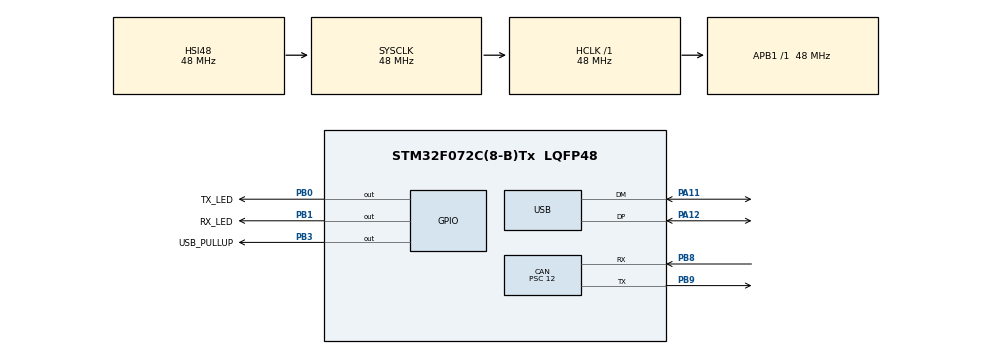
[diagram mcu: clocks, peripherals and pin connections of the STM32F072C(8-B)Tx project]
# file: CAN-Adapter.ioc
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CAN.BS1=CAN_BS1_13TQ
CAN.BS2=CAN_BS2_2TQ
CAN.CalculateBaudRate=250000
CAN.CalculateTimeBit=4000
CAN.CalculateTimeQuantum=250.0
CAN.Mode=CAN_MODE_NORMAL
CAN.Prescaler=12
IWDG.Prescaler=IWDG_PRESCALER_4
Mcu.Family=STM32F0
Mcu.Name=STM32F072C(8-B)Tx
Mcu.Package=LQFP48
NVIC.CEC_CAN_IRQn=true\:0\:0\:false\:false\:true\:true\:true
NVIC.USB_IRQn=true\:0\:0\:false\:false\:true\:false\:true
PA11.Mode=Device
PA11.Signal=USB_DM
PA12.Mode=Device
PA12.Signal=USB_DP
PA13.Mode=Serial_Wire
PA13.Signal=SYS_SWDIO
PA14.Mode=Serial_Wire
PA14.Signal=SYS_SWCLK
PB0.GPIO_Label=TX_LED
PB0.Signal=GPIO_Output
PB1.GPIO_Label=RX_LED
PB1.Signal=GPIO_Output
PB3.GPIO_Label=USB_PULLUP
PB3.PinState=GPIO_PIN_SET
PB3.Signal=GPIO_Output
PB8.Mode=CAN_Activate
PB8.Signal=CAN_RX
PB9.Mode=CAN_Activate
PB9.Signal=CAN_TX
PF0-OSC_IN.Mode=HSE-External-Oscillator
PF0-OSC_IN.Signal=RCC_OSC_IN
PF1-OSC_OUT.Mode=HSE-External-Oscillator
PF1-OSC_OUT.Signal=RCC_OSC_OUT
ProjectManager.HeapSize=0x200
ProjectManager.StackSize=0x400
ProjectManager.TargetToolchain=STM32CubeIDE
RCC.AHBFreq_Value=48000000
RCC.APB1Freq_Value=48000000
RCC.APB1TimFreq_Value=48000000
RCC.HCLKFreq_Value=48000000
RCC.HSE_VALUE=16000000
RCC.PLLSourceVirtual=RCC_PLLSOURCE_HSE
RCC.SYSCLKFreq_VALUE=48000000
RCC.SYSCLKSource=RCC_SYSCLKSOURCE_HSI48
USB_DEVICE.CLASS_NAME_FS=CDC
USB_DEVICE.VirtualMode=Cdc
USB_DEVICE.VirtualModeFS=Cdc_FS
VP_IWDG_VS_IWDG.Mode=IWDG_Activate
VP_USB_DEVICE_VS_USB_DEVICE_CDC_FS.Mode=CDC_FS
board=custom

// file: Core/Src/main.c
/* USER CODE BEGIN Header */
/**
 ******************************************************************************
 * @file           : main.c
 * @brief          : Main program body
 ******************************************************************************
 * @attention
 *
 * Copyright (c) 2022 STMicroelectronics.
 * All rights reserved.
 *
 * This software is licensed under terms that can be found in the LICENSE file
 * in the root directory of this software component.
 * If no LICENSE file comes with this software, it is provided AS-IS.
 *
 ******************************************************************************
 */
/* USER CODE END Header */
#include "main.h"
#include "usb_device.h"

/* USER CODE BEGIN Includes */
#include "usbd_cdc_if.h"

#define VERSION 0x00000103

typedef struct {
	CAN_RxHeaderTypeDef header;
	uint8_t buf[8];
} rxMessage_t;

rxMessage_t recMsgs[128];
uint8_t usbBuf[128];
char idString[16];
char errorString[128];
uint8_t error = 0;
uint8_t usbPtr = 0;
uint8_t usbMesLen = 0;
uint8_t gotUsbMessage = 0;

uint8_t recCnt = 0;
uint8_t canState = 0;
uint32_t canMode = CAN_MODE_NORMAL;
uint32_t lastRx = 0;
uint32_t lastTx = 0;
uint32_t totalRXCnt = 0;
uint32_t totalTXCnt = 0;
CAN_FilterTypeDef filter;
uint32_t mailBox = 0;

uint8_t listen = 1;

uint8_t len;
uint8_t txData[8] = { 0, };
char outString[32] = { 0, };
CAN_TxHeaderTypeDef header = { 0, };
uint16_t bitrate = 250;

/* USER CODE END Includes */

CAN_HandleTypeDef hcan;

IWDG_HandleTypeDef hiwdg;

void SystemClock_Config(void);
static void MX_GPIO_Init(void);
static void MX_CAN_Init(void);
static void MX_IWDG_Init(void);

/* USER CODE BEGIN 0 */

void handleError(char *str) {
	char finalString[128];
	sprintf(finalString, "<E%s>\r\n", str);
	CDC_Transmit_FS((uint8_t*) finalString, strlen(finalString));

	error = 1;

}

void printLog(char *str) {
	char finalString[128];
	sprintf(finalString, "<P%s>\r\n", str);
	CDC_Transmit_FS((uint8_t*) finalString, strlen(finalString));
}
uint32_t pow10_(uint8_t value) {
	if (value > 0)
		return 10 * pow10_(value - 1);
	else
		return 1;
}

uint32_t DecToInt(uint8_t *string, uint8_t len) {
	uint32_t value = 0;
	uint8_t i = 0;
	for (i = 0; i < len; i++)
		if (string[i] >= '0' && string[i] <= '9')
			value += (string[i] - '0') * pow10_(len - i - 1);
		else {
			handleError("Can't convert into int, not a number!");
			return 0xFFFFFFFF;
		}
	return value;
}

uint32_t pow16(uint8_t value) {
	return 1 << (value * 4);
}

uint32_t HexToInt(uint8_t *string, uint8_t len) {
	uint32_t value = 0;
	uint32_t tmp = 0;
	uint8_t i = 0;

	for (i = 0; i < len; i++) {
		switch (string[i]) {
		case '0':
			tmp = 0;
			break;
		case '1':
			tmp = 1;
			break;
		case '2':
			tmp = 2;
			break;
		case '3':
			tmp = 3;
			break;
		case '4':
			tmp = 4;
			break;
		case '5':
			tmp = 5;
			break;
		case '6':
			tmp = 6;
			break;
		case '7':
			tmp = 7;
			break;
		case '8':
			tmp = 8;
			break;
		case '9':
			tmp = 9;
			break;
		case 'A':
		case 'a':
			tmp = 10;
			break;
		case 'B':
		case 'b':
			tmp = 11;
			break;
		case 'C':
		case 'c':
			tmp = 12;
			break;
		case 'D':
		case 'd':
			tmp = 13;
			break;
		case 'E':
		case 'e':
			tmp = 14;
			break;
		case 'F':
		case 'f':
			tmp = 15;
			break;
		default:
			handleError("Can't parse hex value! Invalid string!");
			return 0xFFFFFFFF;
		}
		value += tmp * pow16(len - i - 1);
	}
	return value;
}

void HAL_CAN_RxFifo0MsgPendingCallback(CAN_HandleTypeDef *hcan) {
	if (HAL_CAN_GetRxMessage(hcan, CAN_RX_FIFO0, &recMsgs[recCnt].header, recMsgs[recCnt].buf) != HAL_OK)
		Error_Handler();
	if (recCnt < 128)
		recCnt++;

	lastRx = HAL_GetTick();
	totalRXCnt++;
}

void HAL_CAN_ErrorCallback(CAN_HandleTypeDef *hcan) {
	handleError("CAN BUS error acquired. Restarting CAN");
}

void CDC_ReceiveCallback(uint8_t *Buf, uint32_t len) {
	uint8_t *ptr = Buf;
	while (len--) {
		if (*ptr == 10 || *ptr==13) {
			usbMesLen = usbPtr;
			gotUsbMessage = 1;
			usbBuf[usbPtr] = 0;
			usbPtr = 0;
		} else {
			usbBuf[usbPtr] = *ptr;
			usbPtr++;
		}
		ptr++;
	}

}

void CanCustomInit() {
	HAL_CAN_Stop(&hcan);
	HAL_CAN_DeInit(&hcan);
	hcan.Instance = CAN;
	hcan.Init.Prescaler = 3000 / bitrate;
	hcan.Init.Mode = canMode;
	hcan.Init.SyncJumpWidth = CAN_SJW_1TQ;
	hcan.Init.TimeSeg1 = CAN_BS1_13TQ;
	hcan.Init.TimeSeg2 = CAN_BS2_2TQ;
	hcan.Init.TimeTriggeredMode = DISABLE;
	hcan.Init.AutoBusOff = DISABLE;
	hcan.Init.AutoWakeUp = DISABLE;
	hcan.Init.AutoRetransmission = DISABLE;
	hcan.Init.ReceiveFifoLocked = DISABLE;
	hcan.Init.TransmitFifoPriority = DISABLE;
	if (HAL_CAN_Init(&hcan) != HAL_OK)
		handleError("Cant' init CAN!");
	if (canState)
		if (HAL_CAN_Start(&hcan) != HAL_OK)
			handleError("Can't start CAN!");
}
/* USER CODE END 0 */

int main(void) {

	/* MCU Configuration--------------------------------------------------------*/

	/* Reset of all peripherals, Initializes the Flash interface and the Systick. */
	HAL_Init();

	/* Configure the system clock */
	SystemClock_Config();

	/* Initialize all configured peripherals */
	MX_GPIO_Init();
	MX_CAN_Init();
	MX_USB_DEVICE_Init();
	MX_IWDG_Init();
	/* USER CODE BEGIN 2 */
	DBGMCU->APB1FZ |= DBGMCU_APB1_FZ_DBG_IWDG_STOP_Msk;
	DBGMCU->APB1FZ |= DBGMCU_APB1_FZ_DBG_WWDG_STOP_Msk;

	/* USER CODE END 2 */

	/* Infinite loop */
	/* USER CODE BEGIN WHILE */

	filter.FilterBank = 0;
	filter.FilterMode = CAN_FILTERMODE_IDMASK;
	filter.FilterScale = CAN_FILTERSCALE_32BIT;
	filter.FilterMaskIdHigh = 0x0000;
	filter.FilterMaskIdLow = 0x0000;
	filter.FilterFIFOAssignment = CAN_FILTER_FIFO0;
	filter.FilterActivation = ENABLE;
	filter.SlaveStartFilterBank = 14;

	if (HAL_CAN_ConfigFilter(&hcan, &filter) != HAL_OK) {
		handleError("Cant' config CAN filter!");
		goto loopStart;
	}

	if (HAL_CAN_Start(&hcan) != HAL_OK) {
		handleError("Cant' start CAN!");
		goto loopStart;
	}
	canState = 1;
	if (HAL_CAN_ActivateNotification(&hcan, CAN_IT_RX_FIFO0_MSG_PENDING) != HAL_OK) {
		handleError("Cant' attach CAN RXD PENDING IRQ!");
		goto loopStart;
	}

	if (HAL_CAN_ActivateNotification(&hcan, CAN_IT_ERROR) != HAL_OK) {
		handleError("Cant' attach CAN ERROR IRQ!");
		goto loopStart;
	}
	printLog("Reset");

	while (1) {
		loopStart: HAL_IWDG_Refresh(&hiwdg);
		if (error) {
			error = 0;
			CanCustomInit();
			memset(usbBuf, 0, sizeof(usbBuf));
			usbPtr = 0;
		}

		if (recCnt > 0) {
			uint8_t cur = recCnt - 1;
			CAN_RxHeaderTypeDef *hdr = &recMsgs[cur].header;
			sprintf(outString, "<R%1d%1d%1d_", (int) hdr->DLC, (int) hdr->IDE, (int) hdr->RTR);
			if (!hdr->IDE) {
				sprintf(idString, "%03lX_", hdr->StdId);
			} else {
				sprintf(idString, "%08lX_", hdr->ExtId);
			}
			strcat(outString, idString);
			for (int i = 0; i < hdr->DLC; i++) {
				char byteString[3];
				sprintf(byteString, "%02X", recMsgs[cur].buf[i]);
				strcat(outString, byteString);
			}
			strcat(outString, ">\r\n");
			CDC_Transmit_FS((uint8_t*) outString, strlen(outString));
			recCnt--;
		}

		if (HAL_GetTick() - lastRx < 30 || recCnt == 128)
			HAL_GPIO_WritePin(RX_LED_GPIO_Port, RX_LED_Pin, 0);
		else
			HAL_GPIO_WritePin(RX_LED_GPIO_Port, RX_LED_Pin, 1);

		if (HAL_GetTick() - lastTx < 30)
			HAL_GPIO_WritePin(TX_LED_GPIO_Port, TX_LED_Pin, 0);
		else
			HAL_GPIO_WritePin(TX_LED_GPIO_Port, TX_LED_Pin, 1);

		if (gotUsbMessage) {
			uint8_t len = usbMesLen;
			gotUsbMessage = 0;

			switch (usbBuf[0]) {
			case '1':
				usbBuf[0] = 0;
				if (canState) {
					printLog("CAN Adapter is already started");
					break;
				}
				if (HAL_CAN_Start(&hcan) != HAL_OK) {
					handleError("Cant' start CAN!");
					goto loopStart;
				}
				if (HAL_CAN_ActivateNotification(&hcan, CAN_IT_RX_FIFO0_MSG_PENDING) != HAL_OK) {
					handleError("Cant' attach CAN IRQ!");
					goto loopStart;
				}

				if (HAL_CAN_ActivateNotification(&hcan, CAN_IT_ERROR) != HAL_OK) {
					handleError("Cant' attach CAN IRQ!");
					goto loopStart;
				}
				canState = 1;
				printLog("CAN Adapter turned ON");
				break;
			case '2':
				usbBuf[0] = 0;
				if (!canState) {
					printLog("CAN Adapter is already stopped");
					break;
				}
				if (HAL_CAN_Stop(&hcan) != HAL_OK) {
					handleError("Cant' stop CAN!");
					goto loopStart;
				}
				canState = 0;
				printLog("CAN Adapter turned OFF");
				break;
			case '3':
				usbBuf[0] = 0;
				if (HAL_CAN_ConfigFilter(&hcan, &filter) != HAL_OK) {
					handleError("Cant' config CAN filter!");
					goto loopStart;
				}
				printLog("Filter set");
				break;
			case '4':
				usbBuf[0] = 0;
				if (usbBuf[1] == '0') {
					filter.FilterMode = CAN_FILTERMODE_IDMASK;
					printLog("Mask filter selected");
				} else if (usbBuf[1] == '1') {
					filter.FilterMode = CAN_FILTERMODE_IDLIST;
					printLog("List filter selected");
				} else {
					sprintf(errorString, "Filter code must be 0 or 1, not %c", usbBuf[1]);
					handleError(errorString);
					goto loopStart;
				}

				break;
			case '5':
				usbBuf[0] = 0;
				filter.FilterMaskIdLow = HexToInt(usbBuf + 1, 8);
				if (error)
					goto loopStart;
				break;
			case '6':
				usbBuf[0] = 0;
				filter.FilterMaskIdHigh = HexToInt(usbBuf + 1, 8);
				if (error)
					goto loopStart;
				break;
			case '7':
				usbBuf[0] = 0;
				filter.FilterIdLow = HexToInt(usbBuf + 1, 8);
				if (error)
					goto loopStart;
				break;
			case '8':
				usbBuf[0] = 0;
				filter.FilterIdHigh = HexToInt(usbBuf + 1, 8);
				if (error)
					goto loopStart;
				break;
			case '9':
				usbBuf[0] = 0;
				bitrate = DecToInt(usbBuf + 1, len - 1);
				if (error)
					goto loopStart;
				if (bitrate == 0 || bitrate > 1000) {
					sprintf(errorString, "%d is not valid bitrate, must be 1..1000 kb/s", bitrate);
					handleError(errorString);
					goto loopStart;
				}
				CanCustomInit();
				sprintf(outString, "Bitrate set to %d kB/s", bitrate);
				printLog(outString);
				break;
			case 'T':
				usbBuf[0] = 0;
				if ((usbBuf[1] - '0') > 8) {
					handleError("Message length can't be more than 8!");
					goto loopStart;
					break;
				}
				if ((usbBuf[2] - '0') > 9) {
					handleError("IDE symbol must be a digit!");
					goto loopStart;
					break;
				}
				if ((usbBuf[3] - '0') > 9) {
					handleError("RTR symbol must be a digit!");
					goto loopStart;
					break;
				}
				uint8_t txData[8] = { 0, };
				CAN_TxHeaderTypeDef header = { 0, };
				header.DLC = usbBuf[1] - '0';
				header.IDE = (usbBuf[2] == '0') ? 0 : 4;
				header.RTR = (usbBuf[3] == '0') ? 0 : 2;
				if (header.IDE) {
					header.ExtId = HexToInt(usbBuf + 4, 8);
					if (error)
						goto loopStart;
					if (header.ExtId > 0x1FFFFFFF) {
						sprintf(errorString, "Extended ID must be lesser than 0x1FFFFFFF (it's %lx)", header.ExtId);
						handleError(errorString);
						goto loopStart;
						break;
					}
				} else {
					header.StdId = HexToInt(usbBuf + 4, 3);
					if (error)
						goto loopStart;
					if (header.StdId > 0x7FF) {
						sprintf(errorString, "Standard ID must be lesser than 0x7FF (it's %lx)", header.StdId);
						handleError(errorString);
						goto loopStart;
						break;
					}
				}

				header.TransmitGlobalTime = 0;
				for (uint8_t i = 0; i < header.DLC; ++i) {
					txData[i] = HexToInt(usbBuf + 7 + (header.IDE != 0) * 5 + 2 * i, 2);
					if (error)
						goto loopStart;
				}
				if (HAL_CAN_AddTxMessage(&hcan, &header, txData, &mailBox) != HAL_OK) {
					handleError("Can't send CAN message...");
					goto loopStart;
				}
				totalTXCnt++;
				lastTx = HAL_GetTick();
				break;

			case 't':
				usbBuf[0] = 0;
				header.DLC = 8;
				header.IDE = 4;
				header.RTR = 0;
				header.TransmitGlobalTime = 0;
				header.ExtId = HexToInt(usbBuf + 1, 8);
				if (error)
					goto loopStart;
				for (uint8_t i = 0; i < header.DLC; ++i) {
					txData[i] = HexToInt(usbBuf + 9 + 2 * i, 2);
					if (error)
						goto loopStart;
				}
				HAL_CAN_AddTxMessage(&hcan, &header, txData, &mailBox);
				totalTXCnt++;
				lastTx = HAL_GetTick();
				break;
			case 'V':
				usbBuf[0] = 0;
				sprintf(outString, "<V%08x>\r\n", VERSION);
				CDC_Transmit_FS((uint8_t*) outString, (strlen(outString)));
				break;
			case 'N':
				usbBuf[0] = 0;
				canMode = CAN_MODE_NORMAL;
				CanCustomInit();
				printLog("Can mode set to NORMAL");
				break;

			case 'S':
				usbBuf[0] = 0;
				canMode = CAN_MODE_SILENT;
				CanCustomInit();
				printLog("Can mode set to SILENT");
				break;

			case 'L':
				usbBuf[0] = 0;
				canMode = CAN_MODE_LOOPBACK;
				CanCustomInit();
				printLog("Can mode set to LOOPBACK");
				break;

			case 'K':
				usbBuf[0] = 0;
				canMode = CAN_MODE_SILENT_LOOPBACK;
				CanCustomInit();
				printLog("Can mode set to SILENT LOOPBACK");
				break;

			default:
				printLog("Command not supported");
				break;
			}
		}
		/* USER CODE END WHILE */

	}
}

void SystemClock_Config(void) {
	RCC_OscInitTypeDef RCC_OscInitStruct = { 0 };
	RCC_ClkInitTypeDef RCC_ClkInitStruct = { 0 };
	RCC_PeriphCLKInitTypeDef PeriphClkInit = { 0 };

	/** Initializes the RCC Oscillators according to the specified parameters
	 * in the RCC_OscInitTypeDef structure.
	 */
	RCC_OscInitStruct.OscillatorType = RCC_OSCILLATORTYPE_HSI48 | RCC_OSCILLATORTYPE_LSI;
	RCC_OscInitStruct.HSI48State = RCC_HSI48_ON;
	RCC_OscInitStruct.LSIState = RCC_LSI_ON;
	RCC_OscInitStruct.PLL.PLLState = RCC_PLL_NONE;
	if (HAL_RCC_OscConfig(&RCC_OscInitStruct) != HAL_OK) {
		Error_Handler();
	}
	/** Initializes the CPU, AHB and APB buses clocks
	 */
	RCC_ClkInitStruct.ClockType = RCC_CLOCKTYPE_HCLK | RCC_CLOCKTYPE_SYSCLK | RCC_CLOCKTYPE_PCLK1;
	RCC_ClkInitStruct.SYSCLKSource = RCC_SYSCLKSOURCE_HSI48;
	RCC_ClkInitStruct.AHBCLKDivider = RCC_SYSCLK_DIV1;
	RCC_ClkInitStruct.APB1CLKDivider = RCC_HCLK_DIV1;

	if (HAL_RCC_ClockConfig(&RCC_ClkInitStruct, FLASH_LATENCY_1) != HAL_OK) {
		Error_Handler();
	}
	PeriphClkInit.PeriphClockSelection = RCC_PERIPHCLK_USB;
	PeriphClkInit.UsbClockSelection = RCC_USBCLKSOURCE_HSI48;

	if (HAL_RCCEx_PeriphCLKConfig(&PeriphClkInit) != HAL_OK) {
		Error_Handler();
	}
}

static void MX_CAN_Init(void) {

	hcan.Instance = CAN;
	hcan.Init.Prescaler = 12;
	hcan.Init.Mode = CAN_MODE_NORMAL;
	hcan.Init.SyncJumpWidth = CAN_SJW_1TQ;
	hcan.Init.TimeSeg1 = CAN_BS1_13TQ;
	hcan.Init.TimeSeg2 = CAN_BS2_2TQ;
	hcan.Init.TimeTriggeredMode = DISABLE;
	hcan.Init.AutoBusOff = DISABLE;
	hcan.Init.AutoWakeUp = DISABLE;
	hcan.Init.AutoRetransmission = DISABLE;
	hcan.Init.ReceiveFifoLocked = DISABLE;
	hcan.Init.TransmitFifoPriority = DISABLE;
	if (HAL_CAN_Init(&hcan) != HAL_OK) {
		Error_Handler();
	}

}

static void MX_IWDG_Init(void) {

	hiwdg.Instance = IWDG;
	hiwdg.Init.Prescaler = IWDG_PRESCALER_4;
	hiwdg.Init.Window = 4095;
	hiwdg.Init.Reload = 4095;
	if (HAL_IWDG_Init(&hiwdg) != HAL_OK) {
		Error_Handler();
	}

}

static void MX_GPIO_Init(void) {
	GPIO_InitTypeDef GPIO_InitStruct = { 0 };

	/* GPIO Ports Clock Enable */
	__HAL_RCC_GPIOF_CLK_ENABLE();
	__HAL_RCC_GPIOB_CLK_ENABLE();
	__HAL_RCC_GPIOA_CLK_ENABLE();

	/*Configure GPIO pin Output Level */
	HAL_GPIO_WritePin(GPIOB, TX_LED_Pin | RX_LED_Pin, GPIO_PIN_RESET);

	/*Configure GPIO pin Output Level */
	HAL_GPIO_WritePin(USB_PULLUP_GPIO_Port, USB_PULLUP_Pin, GPIO_PIN_SET);

	/*Configure GPIO pins : TX_LED_Pin RX_LED_Pin USB_PULLUP_Pin */
	GPIO_InitStruct.Pin = TX_LED_Pin | RX_LED_Pin | USB_PULLUP_Pin;
	GPIO_InitStruct.Mode = GPIO_MODE_OUTPUT_PP;
	GPIO_InitStruct.Pull = GPIO_NOPULL;
	GPIO_InitStruct.Speed = GPIO_SPEED_FREQ_LOW;
	HAL_GPIO_Init(GPIOB, &GPIO_InitStruct);

}

void Error_Handler(void) {
	__disable_irq();
	while (1) {
	}
}
